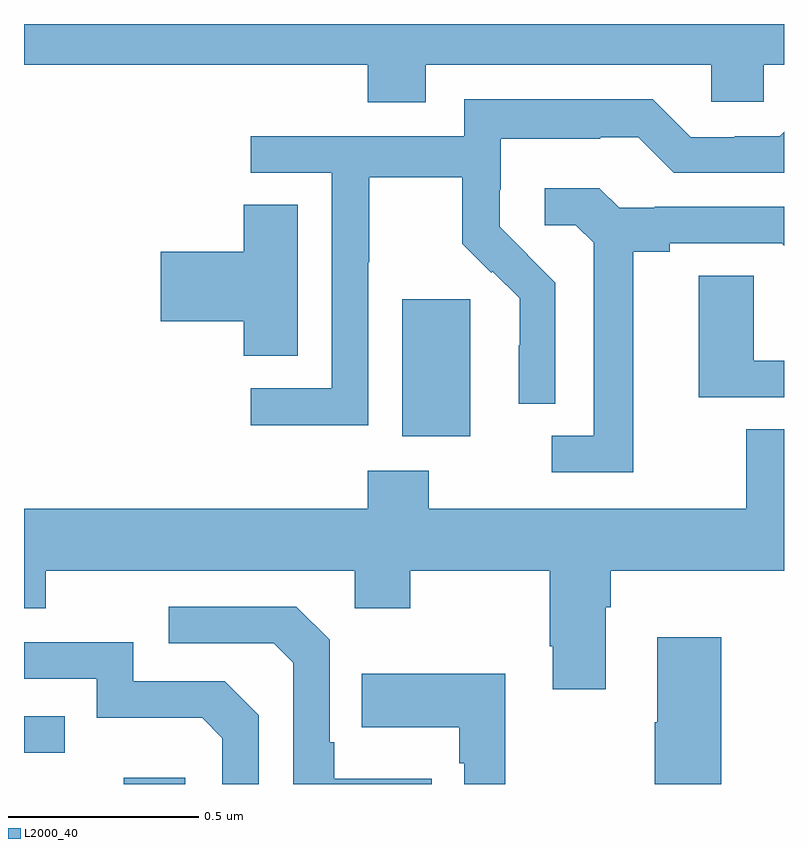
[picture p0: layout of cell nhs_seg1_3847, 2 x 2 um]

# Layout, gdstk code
import gdstk
lib = gdstk.Library(unit=1e-6, precision=1e-09)
def R(c, l, rs):  # rectangles x0, y0, x1, y1
    for r in rs: c.add(gdstk.rectangle(r[:2], r[2:], *l))
def P(c, l, *ps):  # polygons
    for p in ps: c.add(gdstk.Polygon(p, *l))
L2000_40 = (2000, 40)

nhs_seg1_3847 = lib.new_cell('nhs_seg1_3847')
R(nhs_seg1_3847, L2000_40, [(159.263,523.199,159.424,523.216), (159,523.281,159.107,523.377), (159.995,524.114,160.174,524.475)])
P(nhs_seg1_3847, L2000_40, [(160.057,525.092),(160.809,525.092),(160.809,524.994),(160.947,524.994),(160.947,525.092),(161,525.092),(161,525.199),(159,525.199),(159,525.092),(159.905,525.092),(159.905,524.993),(160.057,524.993)],
  [(159.906,524.572),(159.909,524.572),(159.909,524.796),(160.153,524.796),(160.153,524.621),(160.23,524.544),(160.233,524.547),(160.304,524.477),(160.304,524.354),(160.302,524.354),(160.302,524.2),(160.398,524.2),(160.398,524.518),(160.325,524.591),(160.326,524.592),(160.252,524.666),(160.252,524.763),(160.254,524.763),(160.254,524.897),(160.517,524.897),(160.517,524.901),(160.617,524.901),(160.71,524.808),(161,524.808),(161,524.915),(160.989,524.904),(160.871,524.904),(160.871,524.901),(160.755,524.901),(160.655,525.001),(160.158,525.001),(160.158,524.904),(159.597,524.904),(159.597,524.808),(159.81,524.808),(159.81,524.241),(159.597,524.241),(159.597,524.143),(159.906,524.143)],
  [(160.603,524.6),(160.699,524.6),(160.699,524.622),(160.994,524.622),(161,524.616),(161,524.718),(160.66,524.718),(160.66,524.715),(160.566,524.715),(160.514,524.767),(160.371,524.767),(160.371,524.67),(160.452,524.67),(160.499,524.623),(160.499,524.115),(160.389,524.115),(160.389,524.019),(160.603,524.019)],
  [(159.721,524.723),(159.578,524.723),(159.578,524.6),(159.36,524.6),(159.36,524.417),(159.578,524.417),(159.578,524.326),(159.721,524.326)],
  [(161,524.313),(160.92,524.313),(160.92,524.537),(160.775,524.537),(160.775,524.217),(161,524.217)],
  [(160.531,523.664),(160.544,523.664),(160.544,523.76),(161,523.76),(161,524.132),(160.901,524.132),(160.901,523.924),(160.065,523.924),(160.065,524.023),(159.905,524.023),(159.905,523.924),(159,523.924),(159,523.661),(159.057,523.661),(159.057,523.76),(159.87,523.76),(159.87,523.661),(160.017,523.661),(160.017,523.76),(160.384,523.76),(160.384,523.561),(160.391,523.561),(160.391,523.449),(160.531,523.449)],
  [(160.073,523.213),(159.817,523.213),(159.817,523.309),(159.804,523.309),(159.804,523.578),(159.717,523.665),(159.381,523.665),(159.381,523.569),(159.657,523.569),(159.708,523.518),(159.708,523.199),(160.073,523.199)],
  [(160.835,523.585),(160.667,523.585),(160.667,523.361),(160.66,523.361),(160.66,523.199),(160.835,523.199)],
  [(159.618,523.38),(159.528,523.47),(159.288,523.47),(159.288,523.572),(159,523.572),(159,523.476),(159.192,523.476),(159.192,523.373),(159.469,523.373),(159.522,523.32),(159.522,523.199),(159.618,523.199)],
  [(160.267,523.489),(159.889,523.489),(159.889,523.349),(160.146,523.349),(160.146,523.253),(160.158,523.253),(160.158,523.199),(160.267,523.199)])

lib.write_gds('nhs_seg1_3847.gds')
